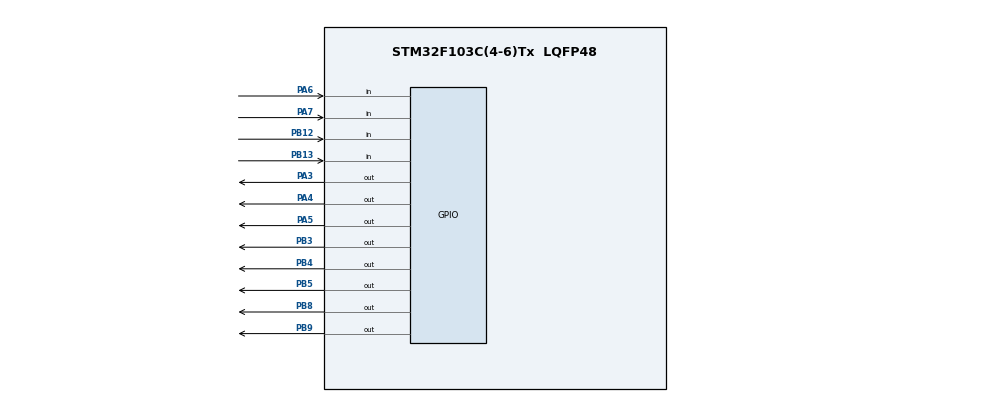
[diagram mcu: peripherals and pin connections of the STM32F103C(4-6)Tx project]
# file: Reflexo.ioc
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Mcu.Family=STM32F1
Mcu.Name=STM32F103C(4-6)Tx
Mcu.Package=LQFP48
NVIC.PriorityGroup=NVIC_PRIORITYGROUP_4
PA13.Mode=Serial_Wire
PA13.Signal=SYS_JTMS-SWDIO
PA14.Mode=Serial_Wire
PA14.Signal=SYS_JTCK-SWCLK
PA3.Signal=GPIO_Output
PA4.Signal=GPIO_Output
PA5.Signal=GPIO_Output
PA6.Signal=GPIO_Input
PA7.Signal=GPIO_Input
PB12.Signal=GPIO_Input
PB13.Signal=GPIO_Input
PB3.Signal=GPIO_Output
PB4.Signal=GPIO_Output
PB5.Signal=GPIO_Output
PB8.Signal=GPIO_Output
PB9.Signal=GPIO_Output
ProjectManager.HeapSize=0x200
ProjectManager.StackSize=0x400
ProjectManager.TargetToolchain=STM32CubeIDE
RCC.APB1Freq_Value=8000000
RCC.APB2Freq_Value=8000000
board=custom

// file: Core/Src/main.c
/* USER CODE BEGIN Header */
/**
  ******************************************************************************
  * @file           : main.c
  * @brief          : Main program body
  ******************************************************************************
  * @attention
  *
  * <h2><center>&copy; Copyright (c) 2022 STMicroelectronics.
  * All rights reserved.</center></h2>
  *
  * This software component is licensed by ST under BSD 3-Clause license,
  * the "License"; You may not use this file except in compliance with the
  * License. You may obtain a copy of the License at:
  *                        opensource.org/licenses/BSD-3-Clause
  *
  ******************************************************************************
  */
/* USER CODE END Header */
#include "main.h"

/* USER CODE BEGIN PD */

int sequencia[2] = {};

#define LED1_ON HAL_GPIO_WritePin(GPIOB,GPIO_PIN_8,1)
#define LED1_OFF HAL_GPIO_WritePin(GPIOB,GPIO_PIN_8,0)

#define LED2_ON HAL_GPIO_WritePin(GPIOB,GPIO_PIN_9,1)
#define LED2_OFF HAL_GPIO_WritePin(GPIOB,GPIO_PIN_9,0)

#define LED3_ON HAL_GPIO_WritePin(GPIOB,GPIO_PIN_5,1)
#define LED3_OFF HAL_GPIO_WritePin(GPIOB,GPIO_PIN_5,0)

#define LED4_ON HAL_GPIO_WritePin(GPIOB,GPIO_PIN_4,1)
#define LED4_OFF HAL_GPIO_WritePin(GPIOB,GPIO_PIN_4,0)

#define LED5_ON HAL_GPIO_WritePin(GPIOB,GPIO_PIN_3,1)
#define LED5_OFF HAL_GPIO_WritePin(GPIOB,GPIO_PIN_3,0)

#define LED6_ON HAL_GPIO_WritePin(GPIOA,GPIO_PIN_5,1)
#define LED6_OFF HAL_GPIO_WritePin(GPIOA,GPIO_PIN_5,0)

#define LED7_ON HAL_GPIO_WritePin(GPIOA,GPIO_PIN_4,1)
#define LED7_OFF HAL_GPIO_WritePin(GPIOA,GPIO_PIN_4,0)

#define LED8_ON HAL_GPIO_WritePin(GPIOA,GPIO_PIN_3,1)
#define LED8_OFF HAL_GPIO_WritePin(GPIOA,GPIO_PIN_3,0)

#define B1_ON HAL_GPIO_ReadPin(GPIOA,GPIO_PIN_6,1)
#define B1_OFF HAL_GPIO_ReadPin(GPIOA,GPIO_PIN_6,0)

#define B2_ON HAL_GPIO_ReadPin(GPIOA,GPIO_PIN_7,1)
#define B2_OFF HAL_GPIO_ReadPin(GPIOA,GPIO_PIN_7,0)

#define B3_ON HAL_GPIO_ReadPin(GPIOB,GPIO_PIN_12,1)
#define B3_OFF HAL_GPIO_ReadPin(GPIOB,GPIO_PIN_12,0)

#define B4_ON HAL_GPIO_ReadPin(GPIOB,GPIO_PIN_13,1)
#define B4_OFF HAL_GPIO_ReadPin(GPIOB,GPIO_PIN_13,0)

int pontA = 0;
int pontB = 0;

/* USER CODE END PD */

void SystemClock_Config(void);
static void MX_GPIO_Init(void);

int main(void)
{

  /* MCU Configuration--------------------------------------------------------*/

  /* Reset of all peripherals, Initializes the Flash interface and the Systick. */
  HAL_Init();

  /* Configure the system clock */
  SystemClock_Config();

  /* Initialize all configured peripherals */
  MX_GPIO_Init();
  /* USER CODE BEGIN 2 */
  int numero_sorteado = random(0, 1)%2;

  if (numero_sorteado == 0){
	  LED1_ON;
	  HAL_Delay(500);
	  LED1_OFF;

  }

  else {

	  LED2_ON;
	  HAL_Delay(500);
	  LED2_OFF;
  }

  if ()

  /* USER CODE END 2 */

  /* Infinite loop */
  while (1)
  {

  }
}

void SystemClock_Config(void)
{
  RCC_OscInitTypeDef RCC_OscInitStruct = {0};
  RCC_ClkInitTypeDef RCC_ClkInitStruct = {0};

  /** Initializes the RCC Oscillators according to the specified parameters
  * in the RCC_OscInitTypeDef structure.
  */
  RCC_OscInitStruct.OscillatorType = RCC_OSCILLATORTYPE_HSI;
  RCC_OscInitStruct.HSIState = RCC_HSI_ON;
  RCC_OscInitStruct.HSICalibrationValue = RCC_HSICALIBRATION_DEFAULT;
  RCC_OscInitStruct.PLL.PLLState = RCC_PLL_NONE;
  if (HAL_RCC_OscConfig(&RCC_OscInitStruct) != HAL_OK)
  {
    Error_Handler();
  }
  /** Initializes the CPU, AHB and APB buses clocks
  */
  RCC_ClkInitStruct.ClockType = RCC_CLOCKTYPE_HCLK|RCC_CLOCKTYPE_SYSCLK
                              |RCC_CLOCKTYPE_PCLK1|RCC_CLOCKTYPE_PCLK2;
  RCC_ClkInitStruct.SYSCLKSource = RCC_SYSCLKSOURCE_HSI;
  RCC_ClkInitStruct.AHBCLKDivider = RCC_SYSCLK_DIV1;
  RCC_ClkInitStruct.APB1CLKDivider = RCC_HCLK_DIV1;
  RCC_ClkInitStruct.APB2CLKDivider = RCC_HCLK_DIV1;

  if (HAL_RCC_ClockConfig(&RCC_ClkInitStruct, FLASH_LATENCY_0) != HAL_OK)
  {
    Error_Handler();
  }
}

static void MX_GPIO_Init(void)
{
  GPIO_InitTypeDef GPIO_InitStruct = {0};

  /* GPIO Ports Clock Enable */
  __HAL_RCC_GPIOA_CLK_ENABLE();
  __HAL_RCC_GPIOB_CLK_ENABLE();

  /*Configure GPIO pin Output Level */
  HAL_GPIO_WritePin(GPIOA, GPIO_PIN_3|GPIO_PIN_4|GPIO_PIN_5, GPIO_PIN_RESET);

  /*Configure GPIO pin Output Level */
  HAL_GPIO_WritePin(GPIOB, GPIO_PIN_3|GPIO_PIN_4|GPIO_PIN_5|GPIO_PIN_8
                          |GPIO_PIN_9, GPIO_PIN_RESET);

  /*Configure GPIO pins : PA3 PA4 PA5 */
  GPIO_InitStruct.Pin = GPIO_PIN_3|GPIO_PIN_4|GPIO_PIN_5;
  GPIO_InitStruct.Mode = GPIO_MODE_OUTPUT_PP;
  GPIO_InitStruct.Pull = GPIO_NOPULL;
  GPIO_InitStruct.Speed = GPIO_SPEED_FREQ_LOW;
  HAL_GPIO_Init(GPIOA, &GPIO_InitStruct);

  /*Configure GPIO pins : PA6 PA7 */
  GPIO_InitStruct.Pin = GPIO_PIN_6|GPIO_PIN_7;
  GPIO_InitStruct.Mode = GPIO_MODE_INPUT;
  GPIO_InitStruct.Pull = GPIO_NOPULL;
  HAL_GPIO_Init(GPIOA, &GPIO_InitStruct);

  /*Configure GPIO pins : PB12 PB13 */
  GPIO_InitStruct.Pin = GPIO_PIN_12|GPIO_PIN_13;
  GPIO_InitStruct.Mode = GPIO_MODE_INPUT;
  GPIO_InitStruct.Pull = GPIO_NOPULL;
  HAL_GPIO_Init(GPIOB, &GPIO_InitStruct);

  /*Configure GPIO pins : PB3 PB4 PB5 PB8
                           PB9 */
  GPIO_InitStruct.Pin = GPIO_PIN_3|GPIO_PIN_4|GPIO_PIN_5|GPIO_PIN_8
                          |GPIO_PIN_9;
  GPIO_InitStruct.Mode = GPIO_MODE_OUTPUT_PP;
  GPIO_InitStruct.Pull = GPIO_NOPULL;
  GPIO_InitStruct.Speed = GPIO_SPEED_FREQ_LOW;
  HAL_GPIO_Init(GPIOB, &GPIO_InitStruct);

}

void Error_Handler(void)
{
  __disable_irq();
  while (1)
  {
  }
}

/************************ (C) COPYRIGHT STMicroelectronics *****END OF FILE****/
